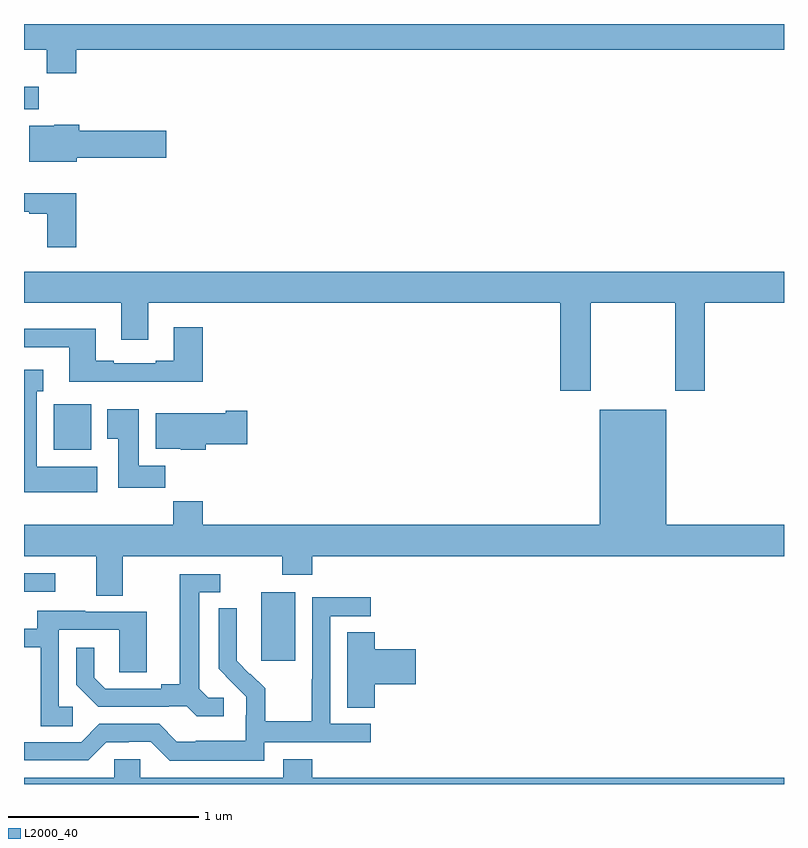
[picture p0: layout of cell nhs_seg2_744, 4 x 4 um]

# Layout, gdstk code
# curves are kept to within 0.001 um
import gdstk
lib = gdstk.Library(unit=1e-6, precision=1e-09)
def R(c, l, rs):  # rectangles x0, y0, x1, y1
    for r in rs: c.add(gdstk.rectangle(r[:2], r[2:], *l))
def P(c, l, *ps):  # polygons
    for p in ps: c.add(gdstk.Polygon(p, *l))
L2000_40 = (2000, 40)

nhs_seg2_744 = lib.new_cell('nhs_seg2_744')
R(nhs_seg2_744, L2000_40, [(150.248,616.449,150.427,616.81), (149,616.812,149.164,616.908), (149.156,617.558,149.353,617.8), (149,619.352,149.078,619.471)])
P(nhs_seg2_744, L2000_40, [(153,619.8),(149,619.8),(149,619.664),(149.119,619.664),(149.119,619.54),(149.276,619.54),(149.276,619.664),(153,619.664)],
  [(149.278,619.097),(149.749,619.097),(149.749,619.239),(149.291,619.239),(149.291,619.27),(149.16,619.27),(149.16,619.264),(149.027,619.264),(149.027,619.076),(149.278,619.076)],
  [(149.276,618.91),(149,618.91),(149,618.813),(149.027,618.813),(149.027,618.801),(149.123,618.801),(149.123,618.624),(149.276,618.624)],
  [(151.983,618.332),(152.428,618.332),(152.428,617.871),(152.583,617.871),(152.583,618.332),(153,618.332),(153,618.496),(149,618.496),(149,618.332),(149.513,618.332),(149.513,618.138),(149.653,618.138),(149.653,618.332),(151.823,618.332),(151.823,617.871),(151.983,617.871)],
  [(149.942,618.205),(149.789,618.205),(149.789,618.028),(149.693,618.028),(149.693,618.015),(149.473,618.015),(149.473,618.028),(149.377,618.028),(149.377,618.196),(149,618.196),(149,618.099),(149.237,618.099),(149.237,617.918),(149.942,617.918)],
  [(149.386,617.47),(149.068,617.47),(149.068,617.867),(149.101,617.867),(149.101,617.98),(149,617.98),(149,617.336),(149.386,617.336)],
  [(149.744,617.476),(149.605,617.476),(149.605,617.773),(149.438,617.773),(149.438,617.617),(149.495,617.617),(149.495,617.358),(149.744,617.358)],
  [(149.521,617),(150.358,617),(150.358,616.901),(150.518,616.901),(150.518,617),(153,617),(153,617.164),(152.38,617.164),(152.38,617.77),(152.03,617.77),(152.03,617.164),(149.942,617.164),(149.942,617.288),(149.785,617.288),(149.785,617.164),(149,617.164),(149,617),(149.381,617),(149.381,616.792),(149.521,616.792)],
  [(149.957,617.587),(150.175,617.587),(150.175,617.765),(150.062,617.765),(150.062,617.752),(149.693,617.752),(149.693,617.564),(149.826,617.564),(149.826,617.558),(149.957,617.558)],
  [(150.052,616.254),(149.97,616.254),(149.923,616.301),(149.923,616.809),(150.034,616.809),(150.034,616.905),(149.819,616.905),(149.819,616.325),(149.723,616.325),(149.723,616.302),(149.428,616.302),(149.371,616.359),(149.371,616.516),(149.274,616.516),(149.274,616.322),(149.39,616.206),(149.762,616.206),(149.762,616.209),(149.856,616.209),(149.908,616.157),(150.052,616.157)],
  [(150.264,616.02),(150.826,616.02),(150.826,616.116),(150.612,616.116),(150.612,616.683),(150.826,616.683),(150.826,616.782),(150.516,616.782),(150.516,616.352),(150.514,616.352),(150.514,616.129),(150.269,616.129),(150.269,616.303),(150.192,616.38),(150.189,616.377),(150.119,616.448),(150.12,616.724),(150.024,616.724),(150.024,616.406),(150.17,616.258),(150.17,616.161),(150.168,616.161),(150.168,616.027),(149.905,616.027),(149.905,616.023),(149.805,616.023),(149.712,616.116),(149.397,616.116),(149.301,616.02),(149,616.02),(149,615.924),(149.337,615.924),(149.433,616.02),(149.552,616.02),(149.552,616.023),(149.667,616.023),(149.767,615.923),(150.264,615.923)],
  [(149.257,616.206),(149.184,616.206),(149.184,616.611),(149.502,616.611),(149.502,616.387),(149.647,616.387),(149.647,616.707),(149.323,616.707),(149.323,616.711),(149.069,616.711),(149.069,616.617),(149,616.617),(149,616.521),(149.088,616.521),(149.088,616.105),(149.257,616.105)],
  [(150.845,616.325),(151.063,616.325),(151.063,616.508),(150.845,616.508),(150.845,616.598),(150.701,616.598),(150.701,616.201),(150.845,616.201)],
  [(153,615.832),(150.518,615.832),(150.518,615.931),(150.365,615.931),(150.365,615.832),(149.613,615.832),(149.613,615.93),(149.475,615.93),(149.475,615.832),(149,615.832),(149,615.8),(153,615.8)])

lib.write_gds('nhs_seg2_744.gds')
